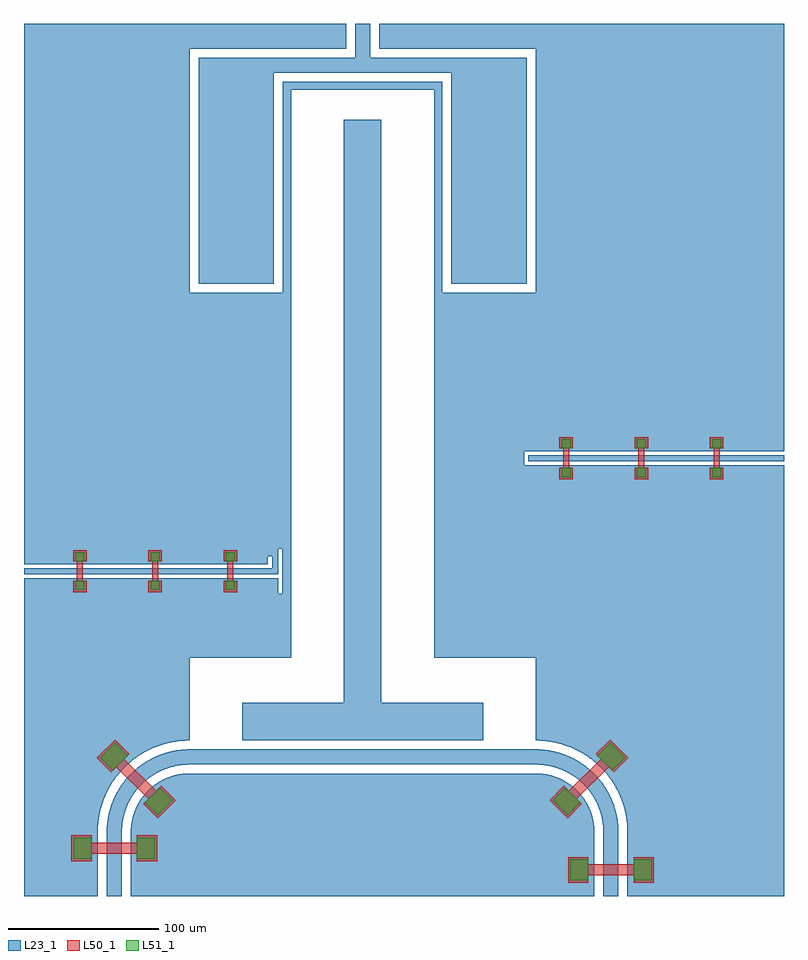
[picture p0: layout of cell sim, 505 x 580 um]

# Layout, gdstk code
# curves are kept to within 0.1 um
import gdstk
lib = gdstk.Library(unit=1e-6, precision=1e-09)
def R(c, l, rs):  # rectangles x0, y0, x1, y1
    for r in rs: c.add(gdstk.rectangle(r[:2], r[2:], *l))
def A(c, l, x, y, w, h, nx, ny, dx, dy):  # array of equal rectangles
    R(c, l, [(x+i*dx, y+j*dy, x+i*dx+w, y+j*dy+h) for i in range(nx) for j in range(ny)])
def P(c, l, *ps):  # polygons
    for p in ps: c.add(gdstk.Polygon(p, *l))
L23_1 = (23, 1)
L50_1 = (50, 1)
L51_1 = (51, 1)

sim = lib.new_cell('sim')
R(sim, L23_1, [(2610.2,2329.186,2780,2333.186), (2449.75,2603.186,2489,2620)])
P(sim, L23_1, [(2441,2587.186),(2559,2587.186),(2559,2447.186),(2609,2447.186),(2609,2597.186),(2505,2597.186),(2505,2620),(2495,2620),(2495,2597.186),(2391,2597.186),(2391,2447.186),(2441,2447.186)],
  [(2580,2143.686),(2580,2168.686),(2512.5,2168.686),(2512.5,2556.186),(2487.5,2556.186),(2487.5,2168.686),(2420,2168.686),(2420,2143.686)],
  [(2384.678,2121.685),(2379.218,2121.255),(2373.872,2120.065),(2368.746,2118.137),(2363.94,2115.511),(2359.549,2112.237),(2355.661,2108.38),(2352.351,2104.017),(2349.684,2099.233),(2348.219,2095.654),(2347.193,2092.26),(2346.48,2088.787),(2346.065,2084.942),(2346,2040),(2615.161,2040),(2615.161,2121.686)],
  [(2654,2082.686),(2653.808,2086.549),(2653.235,2090.373),(2652.379,2093.814),(2651.093,2097.461),(2649.452,2100.964),(2647.472,2104.286),(2645.173,2107.396),(2642.577,2110.263),(2639.71,2112.859),(2636.6,2115.158),(2633.278,2117.138),(2629.776,2118.779),(2626.128,2120.065),(2622.688,2120.921),(2618.863,2121.494),(2615.161,2121.686),(2615.161,2040),(2654,2040)],
  [(2324,2082.686),(2324.345,2089.161),(2325.375,2095.564),(2327.079,2101.82),(2329.437,2107.861),(2332.424,2113.617),(2334.28,2116.576),(2336.303,2119.423),(2340.478,2124.385),(2345.156,2128.876),(2275,2128.876),(2275,2040),(2324,2040)],
  [(2780,2128.876),(2654.844,2128.876),(2658.134,2125.819),(2661.514,2122.15),(2664.584,2118.217),(2667.063,2114.473),(2669.487,2110.112),(2671.357,2106.03),(2673.076,2101.346),(2674.291,2097.023),(2675.478,2090.648),(2675.982,2084.183),(2676,2040),(2780,2040)],
  [(2345.536,2129.2),(2349.876,2132.559),(2354.069,2135.262),(2358.919,2137.829),(2363.981,2139.95),(2369.212,2141.607),(2374.571,2142.788),(2380.015,2143.482),(2385,2143.686),(2385,2198.686),(2449.75,2198.686),(2449.75,2581.186),(2447,2581.186),(2447,2441.186),(2385,2441.186),(2385,2603.186),(2449.75,2603.186),(2449.75,2620),(2275,2620),(2275,2260.886),(2437.1,2260.886),(2437.1,2265.886),(2439.8,2265.886),(2439.8,2258.186),(2275,2258.186),(2275,2254.186),(2443.8,2254.186),(2443.8,2271.186),(2446.5,2271.186),(2446.5,2241.186),(2443.8,2241.186),(2443.8,2251.486),(2275,2251.486),(2275,2128.876),(2345.156,2128.876)],
  [(2452.5,2576.186),(2547.5,2576.186),(2547.5,2198.686),(2615,2198.686),(2615,2143.686),(2619.985,2143.482),(2625.429,2142.788),(2630.788,2141.607),(2636.019,2139.95),(2641.081,2137.829),(2645.931,2135.262),(2650.531,2132.269),(2654.844,2128.876),(2780,2128.876),(2780,2326.486),(2607.5,2326.486),(2607.5,2335.886),(2780,2335.886),(2780,2620),(2511,2620),(2511,2603.186),(2615,2603.186),(2615,2441.186),(2553,2441.186),(2553,2581.186),(2449.75,2581.186),(2449.75,2198.686),(2452.5,2198.686)],
  [(2340,2082.686),(2340.152,2086.38),(2340.676,2090.455),(2341.463,2094.068),(2342.683,2097.991),(2344.082,2101.413),(2345.961,2105.067),(2347.93,2108.197),(2350.309,2111.348),(2350.309,2125.364),(2346.826,2122.281),(2343.704,2119.013),(2340.861,2115.5),(2338.584,2112.19),(2336.318,2108.28),(2334.381,2104.197),(2332.786,2099.968),(2331.543,2095.623),(2330.515,2090.197),(2330.021,2084.193),(2330,2040),(2340,2040)],
  [(2350.411,2111.471),(2353.472,2114.795),(2356.851,2117.795),(2360.17,2120.216),(2364.059,2122.517),(2368.16,2124.416),(2372.036,2125.778),(2376.019,2126.781),(2380.487,2127.459),(2385,2127.686),(2615,2127.686),(2615,2137.686),(2385,2137.686),(2379.484,2137.409),(2375.504,2136.86),(2371.575,2136.022),(2367.718,2134.9),(2363.952,2133.499),(2360.299,2131.827),(2356.778,2129.893),(2353.408,2127.707),(2350.309,2125.364),(2350.309,2111.348)],
  [(2670,2082.686),(2669.814,2087.201),(2669.259,2091.686),(2668.457,2095.623),(2667.214,2099.968),(2665.619,2104.197),(2663.682,2108.28),(2661.416,2112.19),(2658.837,2115.901),(2657.572,2117.508),(2643.502,2117.508),(2646.528,2114.795),(2649.058,2112.098),(2651.357,2109.203),(2653.412,2106.128),(2655.207,2102.895),(2656.73,2099.526),(2657.972,2096.043),(2659.011,2092.069),(2659.73,2087.608),(2659.992,2083.508),(2660,2040),(2670,2040)],
  [(2657.276,2117.868),(2653.174,2122.281),(2648.615,2126.218),(2643.652,2129.633),(2638.345,2132.485),(2632.758,2134.74),(2626.959,2136.37),(2621.015,2137.356),(2615,2137.686),(2615,2127.686),(2618.695,2127.534),(2622.769,2127.01),(2626.382,2126.223),(2630.305,2125.003),(2633.728,2123.604),(2637.024,2121.928),(2640.511,2119.756),(2643.502,2117.508),(2657.572,2117.508)])
P(sim, L50_1, [(2739.7,2324.686),(2737.2,2324.686),(2737.2,2337.686),(2739.7,2337.686),(2739.7,2345.186),(2730.7,2345.186),(2730.7,2337.686),(2733.2,2337.686),(2733.2,2324.686),(2730.7,2324.686),(2730.7,2317.186),(2739.7,2317.186)],
  [(2689.7,2324.686),(2687.2,2324.686),(2687.2,2337.686),(2689.7,2337.686),(2689.7,2345.186),(2680.7,2345.186),(2680.7,2337.686),(2683.2,2337.686),(2683.2,2324.686),(2680.7,2324.686),(2680.7,2317.186),(2689.7,2317.186)],
  [(2639.7,2324.686),(2637.2,2324.686),(2637.2,2337.686),(2639.7,2337.686),(2639.7,2345.186),(2630.7,2345.186),(2630.7,2337.686),(2633.2,2337.686),(2633.2,2324.686),(2630.7,2324.686),(2630.7,2317.186),(2639.7,2317.186)],
  [(2366.6,2249.686),(2364.1,2249.686),(2364.1,2262.686),(2366.6,2262.686),(2366.6,2270.186),(2357.6,2270.186),(2357.6,2262.686),(2360.1,2262.686),(2360.1,2249.686),(2357.6,2249.686),(2357.6,2242.186),(2366.6,2242.186)],
  [(2316.6,2249.686),(2314.1,2249.686),(2314.1,2262.686),(2316.6,2262.686),(2316.6,2270.186),(2307.6,2270.186),(2307.6,2262.686),(2310.1,2262.686),(2310.1,2249.686),(2307.6,2249.686),(2307.6,2242.186),(2316.6,2242.186)],
  [(2416.6,2249.686),(2414.1,2249.686),(2414.1,2262.686),(2416.6,2262.686),(2416.6,2270.186),(2407.6,2270.186),(2407.6,2262.686),(2410.1,2262.686),(2410.1,2249.686),(2407.6,2249.686),(2407.6,2242.186),(2416.6,2242.186)],
  [(2375.808,2103.899),(2366.262,2113.445),(2362.903,2110.086),(2341.69,2131.299),(2345.048,2134.658),(2335.503,2144.204),(2323.482,2132.183),(2333.028,2122.637),(2336.386,2125.996),(2357.6,2104.783),(2354.241,2101.424),(2363.787,2091.878)],
  [(2645.759,2101.424),(2642.4,2104.783),(2663.614,2125.996),(2666.972,2122.637),(2676.518,2132.183),(2664.497,2144.204),(2654.952,2134.658),(2658.31,2131.299),(2637.097,2110.086),(2633.738,2113.445),(2624.192,2103.899),(2636.213,2091.878)],
  [(2320,2068.25),(2350,2068.25),(2350,2063.5),(2363.5,2063.5),(2363.5,2080.5),(2350,2080.5),(2350,2075.75),(2320,2075.75),(2320,2080.5),(2306.5,2080.5),(2306.5,2063.5),(2320,2063.5)],
  [(2650,2053.936),(2680,2053.936),(2680,2049.186),(2693.5,2049.186),(2693.5,2066.186),(2680,2066.186),(2680,2061.436),(2650,2061.436),(2650,2066.186),(2636.5,2066.186),(2636.5,2049.186),(2650,2049.186)])
A(sim, L51_1, 2309.1, 2243.686, 6, 6, 3, 2, 50, 19)
A(sim, L51_1, 2632.2, 2318.686, 6, 6, 3, 2, 50, 19)
R(sim, L51_1, [(2638,2050.686,2650,2064.686), (2680,2050.686,2692,2064.686), (2308,2065,2320,2079), (2350,2065,2362,2079)])
P(sim, L51_1, [(2343.988,2133.598),(2335.503,2142.083),(2325.603,2132.183),(2334.088,2123.698)],
  [(2674.397,2132.183),(2664.497,2142.083),(2656.012,2133.598),(2665.912,2123.698)],
  [(2644.698,2102.485),(2634.799,2112.384),(2626.314,2103.899),(2636.213,2094)],
  [(2373.686,2103.899),(2365.201,2112.384),(2355.302,2102.485),(2363.787,2094)])

lib.write_gds('sim.gds')
